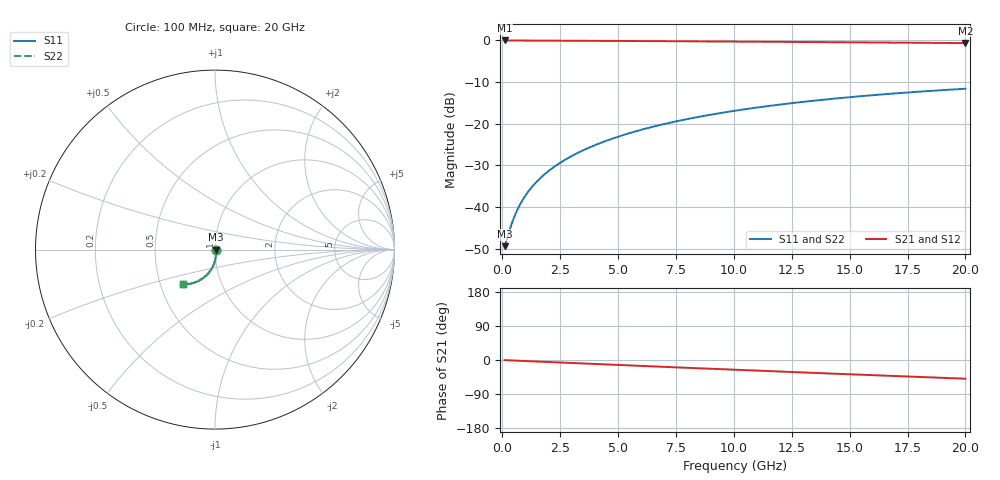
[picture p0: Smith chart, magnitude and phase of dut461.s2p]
! Touchstone file exported from HFSS 2026.1.0
!  File:  C:/ffzhzh/LocalFiles/Ansys_Project_Files/temp_train_TMRDL_461_1783006004_4048.aedt
!  Generated:  11:28:29 PM Jul  2, 2026
!  Design:  TMRDL
!  Project:  temp_train_TMRDL_461_1783006004_4048
! Variables:
!  h_bsmrdl = 2um
!  h_ox = 20um
!  h_rdl = 5um
!  h_sub = 80um
!  h_tmrdl = 4.38um
!  h_tsv = 80um
!  h_via = 3um
!  l_bsmrdl = 300um
!  l_sub = 1239.54um
!  l_tmrdl = 839.54um
!  m_sub = 200um
!  pitch = 24.63um
!  r_tsv = 6um
!  s_tmrdl = 10um
!  w_bsmrdl = 18um
!  w_sub = 500um
!  w_tmrdl = 22.72um
!  x_tsv_center1 = 850.9um
!  x_tsv_center2 = 1168.9um
!  x_tsv_center3 = 2031.16um
!  x_tsv_center4 = 2349.16um
!  x_tsv_center5 = 3211.42um
!  x_tsv_center6 = 3529.42um
# GHz S MA R 50.000000
! Terminal data exported
! Port[1] = TM_RDL1_1_T1
! Port[2] = TM_RDL1_1_T2
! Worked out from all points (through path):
!   200 points, 100 MHz to 20 GHz, reference 50 ohm
!   highest |S21| = -0.03 dB at 100 MHz (marker M1); lowest = -0.7 dB at 20 GHz (marker M2)
!   group delay of S21, straight-line fit = 6.84 ps
!   lowest |S11| = -49.4 dB at 100 MHz (marker M3), VSWR 1.01, Z = 50.3 - j0.0349 ohm
!   |S11| at or under -10 dB: start of sweep to end of sweep
!   |S22| runs from -49.4 to -11.6 dB; largest |S21 - S12| = 2.7e-15
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0.1  0.00338 -5.9  0.9966 -0.3  0.9966 -0.3  0.00338 -5.9
! Gamma 0 0 0 0
! Port Impedance 50 0 50 0
0.4  0.006211 -33.6  0.9947 -1.2  0.9947 -1.2  0.00621 -33.5
0.5  0.007387 -41.1  0.9943 -1.4  0.9943 -1.4  0.007387 -41.1
0.6  0.008606 -47.3  0.9939 -1.7  0.9939 -1.7  0.008606 -47.3
0.7  0.009853 -52.3  0.9936 -2.0  0.9936 -2.0  0.009853 -52.3
0.9  0.0124 -59.9  0.9932 -2.5  0.9932 -2.5  0.0124 -59.8
1.2  0.01631 -67.3  0.9926 -3.3  0.9926 -3.3  0.01631 -67.3
1.4  0.01895 -70.7  0.9923 -3.8  0.9923 -3.8  0.01896 -70.7
1.7  0.02296 -74.6  0.9918 -4.6  0.9918 -4.6  0.02297 -74.6
2.2  0.02976 -79.1  0.9909 -5.9  0.9909 -5.9  0.02976 -79.0
2.8  0.03806 -82.8  0.9896 -7.4  0.9896 -7.4  0.03807 -82.8
3.5  0.04795 -86.1  0.9879 -9.3  0.9879 -9.3  0.04797 -86.1
4.2  0.05801 -88.9  0.986 -11.1  0.986 -11.1  0.05803 -88.8
5  0.06966 -91.7  0.9836 -13.1  0.9836 -13.1  0.06968 -91.6
5.9  0.08287 -94.6  0.9808 -15.4  0.9808 -15.4  0.0829 -94.6
6.8  0.09609 -97.4  0.9779 -17.7  0.9779 -17.7  0.09613 -97.4
8.3  0.118 -101.9  0.9729 -21.4  0.9729 -21.4  0.118 -101.9
10.1  0.1436 -107.0  0.9665 -25.8  0.9665 -25.8  0.1437 -107.0
11.7  0.1655 -111.4  0.9605 -29.8  0.9605 -29.8  0.1656 -111.4
13.4  0.1879 -116.0  0.9539 -33.9  0.9539 -33.9  0.188 -115.9
16.7  0.2277 -124.4  0.9404 -41.7  0.9404 -41.7  0.2279 -124.3
20  0.2623 -132.5  0.9265 -49.4  0.9265 -49.4  0.2626 -132.4
